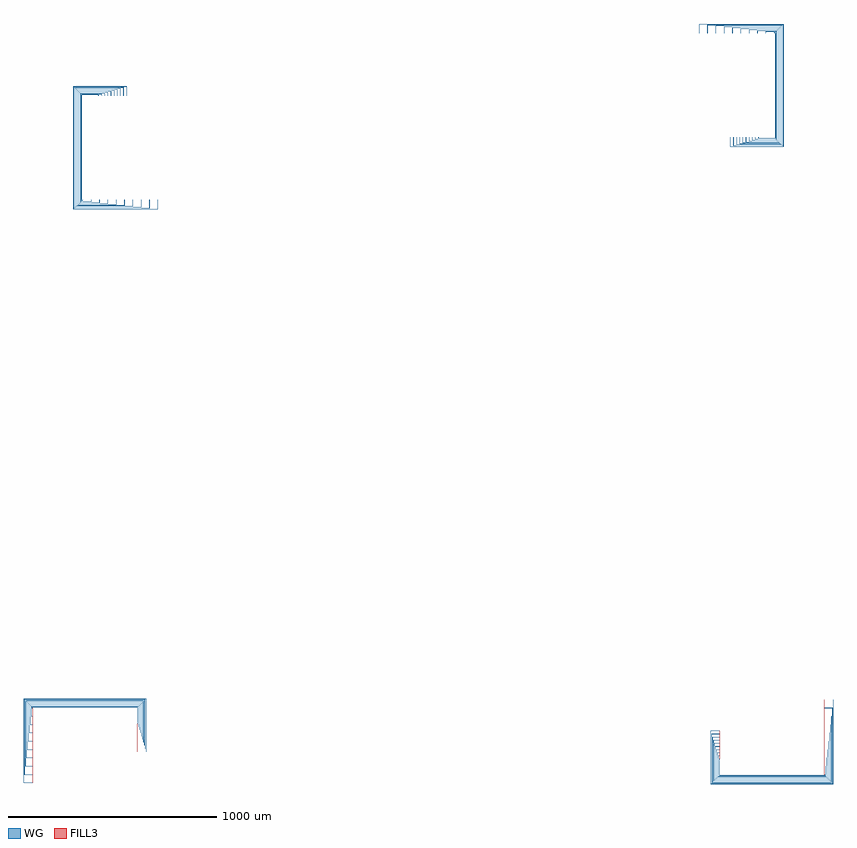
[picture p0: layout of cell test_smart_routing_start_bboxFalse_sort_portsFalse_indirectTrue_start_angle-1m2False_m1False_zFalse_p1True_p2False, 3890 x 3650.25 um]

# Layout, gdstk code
import gdstk
lib = gdstk.Library(unit=1e-6, precision=1e-09)
def P(c, l, *ps):  # polygons
    for p in ps: c.add(gdstk.Polygon(p, *l))
WG = (1, 0)
FILL3 = (10, 0)

test_smart_routing_start = lib.new_cell('test_smart_routing_start_bboxFalse_sort_portsFalse_indirectTrue_start_angle-1m2False_m1False_zFalse_p1True_p2False')
P(test_smart_routing_start, WG, [(3084.75,2895.5),(3084.75,2900),(3084.95,2900),(3084.95,2895.7),(3164.55,2895.7),(3164.55,3404.3),(3159.95,3404.3),(3159.95,3400),(3159.75,3400),(3159.75,3404.5),(3164.75,3404.5),(3164.75,2895.5)],
  [(3085.05,2895.8),(3085.05,2900),(3085.25,2900),(3085.25,2896),(3164.25,2896),(3164.25,3404),(3160.25,3404),(3160.25,3400),(3160.05,3400),(3160.05,3404.2),(3164.45,3404.2),(3164.45,2895.8)],
  [(3069.75,2891),(3069.75,2900),(3069.95,2900),(3069.95,2891.2),(3169.05,2891.2),(3169.05,3408.8),(3119.95,3408.8),(3119.95,3400),(3119.75,3400),(3119.75,3409),(3169.25,3409),(3169.25,2891)],
  [(3070.05,2891.3),(3070.05,2900),(3070.25,2900),(3070.25,2891.5),(3168.75,2891.5),(3168.75,3408.5),(3120.25,3408.5),(3120.25,3400),(3120.05,3400),(3120.05,3408.7),(3168.95,3408.7),(3168.95,2891.3)],
  [(3054.75,2886.5),(3054.75,2900),(3054.95,2900),(3054.95,2886.7),(3173.55,2886.7),(3173.55,3413.3),(3079.95,3413.3),(3079.95,3400),(3079.75,3400),(3079.75,3413.5),(3173.75,3413.5),(3173.75,2886.5)],
  [(3055.05,2886.8),(3055.05,2900),(3055.25,2900),(3055.25,2887),(3173.25,2887),(3173.25,3413),(3080.25,3413),(3080.25,3400),(3080.05,3400),(3080.05,3413.2),(3173.45,3413.2),(3173.45,2886.8)],
  [(3025.05,2877.8),(3025.05,2900),(3025.25,2900),(3025.25,2878),(3182.25,2878),(3182.25,3422),(3000.25,3422),(3000.25,3400),(3000.05,3400),(3000.05,3422.2),(3182.45,3422.2),(3182.45,2877.8)],
  [(3010.05,2873.3),(3010.05,2900),(3010.25,2900),(3010.25,2873.5),(3186.75,2873.5),(3186.75,3426.5),(2960.25,3426.5),(2960.25,3400),(2960.05,3400),(2960.05,3426.7),(3186.95,3426.7),(3186.95,2873.3)],
  [(2994.75,2868.5),(2994.75,2900),(2994.95,2900),(2994.95,2868.7),(3191.55,2868.7),(3191.55,3431.3),(2919.95,3431.3),(2919.95,3400),(2919.75,3400),(2919.75,3431.5),(3191.75,3431.5),(3191.75,2868.5)],
  [(2995.05,2868.8),(2995.05,2900),(2995.25,2900),(2995.25,2869),(3191.25,2869),(3191.25,3431),(2920.25,3431),(2920.25,3400),(2920.05,3400),(2920.05,3431.2),(3191.45,3431.2),(3191.45,2868.8)],
  [(2965.05,2859.8),(2965.05,2900),(2965.25,2900),(2965.25,2860),(3200.25,2860),(3200.25,3440),(2840.25,3440),(2840.25,3400),(2840.05,3400),(2840.05,3440.2),(3200.45,3440.2),(3200.45,2859.8)],
  [(2949.75,2855),(2949.75,2900),(2949.95,2900),(2949.95,2855.2),(3205.05,2855.2),(3205.05,3444.8),(2799.95,3444.8),(2799.95,3400),(2799.75,3400),(2799.75,3445),(3205.25,3445),(3205.25,2855)],
  [(2950.05,2855.3),(2950.05,2900),(2950.25,2900),(2950.25,2855.5),(3204.75,2855.5),(3204.75,3444.5),(2800.25,3444.5),(2800.25,3400),(2800.05,3400),(2800.05,3444.7),(3204.95,3444.7),(3204.95,2855.3)],
  [(-186.95,2573.3),(-186.95,3126.7),(-10.05,3126.7),(-10.05,3100),(-10.25,3100),(-10.25,3126.5),(-186.75,3126.5),(-186.75,2573.5),(39.75,2573.5),(39.75,2600),(39.95,2600),(39.95,2573.3)],
  [(-164.75,2595.5),(-164.75,3104.5),(-84.75,3104.5),(-84.75,3100),(-84.95,3100),(-84.95,3104.3),(-164.55,3104.3),(-164.55,2595.7),(-159.95,2595.7),(-159.95,2600),(-159.75,2600),(-159.75,2595.5)],
  [(2873.3,-186.95),(2873.3,-10.05),(2900,-10.05),(2900,-10.25),(2873.5,-10.25),(2873.5,-186.75),(3426.5,-186.75),(3426.5,39.75),(3400,39.75),(3400,39.95),(3426.7,39.95),(3426.7,-186.95)],
  [(2964.75,2859.5),(2964.75,2900),(2964.95,2900),(2964.95,2859.7),(3200.55,2859.7),(3200.55,3440.3),(2839.95,3440.3),(2839.95,3400),(2839.75,3400),(2839.75,3440.5),(3200.75,3440.5),(3200.75,2859.5)],
  [(-191.45,2568.8),(-191.45,3131.2),(4.95,3131.2),(4.95,3100),(4.75,3100),(4.75,3131),(-191.25,3131),(-191.25,2569),(79.75,2569),(79.75,2600),(79.95,2600),(79.95,2568.8)],
  [(-200.45,2559.8),(-200.45,3140.2),(34.95,3140.2),(34.95,3100),(34.75,3100),(34.75,3140),(-200.25,3140),(-200.25,2560),(159.75,2560),(159.75,2600),(159.95,2600),(159.95,2559.8)],
  [(-204.95,2555.3),(-204.95,3144.7),(49.95,3144.7),(49.95,3100),(49.75,3100),(49.75,3144.5),(-204.75,3144.5),(-204.75,2555.5),(199.75,2555.5),(199.75,2600),(199.95,2600),(199.95,2555.3)],
  [(2979.75,2864),(2979.75,2900),(2979.95,2900),(2979.95,2864.2),(3196.05,2864.2),(3196.05,3435.8),(2879.95,3435.8),(2879.95,3400),(2879.75,3400),(2879.75,3436),(3196.25,3436),(3196.25,2864)],
  [(100,84.75),(100,84.95),(104.3,84.95),(104.3,164.55),(-404.3,164.55),(-404.3,159.95),(-400,159.95),(-400,159.75),(-404.5,159.75),(-404.5,164.75),(104.5,164.75),(104.5,84.75)],
  [(-422.2,0.05),(-422.2,182.45),(122.2,182.45),(122.2,25.05),(100,25.05),(100,25.25),(122,25.25),(122,182.25),(-422,182.25),(-422,0.25),(-400,0.25),(-400,0.05)],
  [(-205.25,2555),(-205.25,3145),(50.25,3145),(50.25,3100),(50.05,3100),(50.05,3144.8),(-205.05,3144.8),(-205.05,2555.2),(200.05,2555.2),(200.05,2600),(200.25,2600),(200.25,2555)],
  [(100,54.75),(100,54.95),(113.3,54.95),(113.3,173.55),(-413.3,173.55),(-413.3,79.95),(-400,79.95),(-400,79.75),(-413.5,79.75),(-413.5,173.75),(113.5,173.75),(113.5,54.75)],
  [(2980.05,2864.3),(2980.05,2900),(2980.25,2900),(2980.25,2864.5),(3195.75,2864.5),(3195.75,3435.5),(2880.25,3435.5),(2880.25,3400),(2880.05,3400),(2880.05,3435.7),(3195.95,3435.7),(3195.95,2864.3)],
  [(-427,-40.25),(-427,187.25),(127,187.25),(127,9.75),(100,9.75),(100,9.95),(126.8,9.95),(126.8,187.05),(-426.8,187.05),(-426.8,-40.05),(-400,-40.05),(-400,-40.25)],
  [(-196.25,2564),(-196.25,3136),(20.25,3136),(20.25,3100),(20.05,3100),(20.05,3135.8),(-196.05,3135.8),(-196.05,2564.2),(120.05,2564.2),(120.05,2600),(120.25,2600),(120.25,2564)],
  [(100,69.75),(100,69.95),(108.8,69.95),(108.8,169.05),(-408.8,169.05),(-408.8,119.95),(-400,119.95),(-400,119.75),(-409,119.75),(-409,169.25),(109,169.25),(109,69.75)],
  [(-440.2,-159.95),(-440.2,200.45),(140.2,200.45),(140.2,-34.95),(100,-34.95),(100,-34.75),(140,-34.75),(140,200.25),(-440,200.25),(-440,-159.75),(-400,-159.75),(-400,-159.95)],
  [(2891,-169.25),(2891,-69.75),(2900,-69.75),(2900,-69.95),(2891.2,-69.95),(2891.2,-169.05),(3408.8,-169.05),(3408.8,-119.95),(3400,-119.95),(3400,-119.75),(3409,-119.75),(3409,-169.25)],
  [(-440.5,-160.25),(-440.5,200.75),(140.5,200.75),(140.5,-35.25),(100,-35.25),(100,-35.05),(140.3,-35.05),(140.3,200.55),(-440.3,200.55),(-440.3,-160.05),(-400,-160.05),(-400,-160.25)],
  [(-436,-120.25),(-436,196.25),(136,196.25),(136,-20.25),(100,-20.25),(100,-20.05),(135.8,-20.05),(135.8,196.05),(-435.8,196.05),(-435.8,-120.05),(-400,-120.05),(-400,-120.25)],
  [(-422.5,-0.25),(-422.5,182.75),(122.5,182.75),(122.5,24.75),(100,24.75),(100,24.95),(122.3,24.95),(122.3,182.55),(-422.3,182.55),(-422.3,-0.05),(-400,-0.05),(-400,-0.25)],
  [(2882,-178.25),(2882,-39.75),(2900,-39.75),(2900,-39.95),(2882.2,-39.95),(2882.2,-178.05),(3417.8,-178.05),(3417.8,-39.95),(3400,-39.95),(3400,-39.75),(3418,-39.75),(3418,-178.25)],
  [(2868.5,-191.75),(2868.5,5.25),(2900,5.25),(2900,5.05),(2868.7,5.05),(2868.7,-191.55),(3431.3,-191.55),(3431.3,80.05),(3400,80.05),(3400,80.25),(3431.5,80.25),(3431.5,-191.75)],
  [(-431.2,-79.95),(-431.2,191.45),(131.2,191.45),(131.2,-4.95),(100,-4.95),(100,-4.75),(131,-4.75),(131,191.25),(-431,191.25),(-431,-79.75),(-400,-79.75),(-400,-79.95)],
  [(100,55.05),(100,55.25),(113,55.25),(113,173.25),(-413,173.25),(-413,80.25),(-400,80.25),(-400,80.05),(-413.2,80.05),(-413.2,173.45),(113.2,173.45),(113.2,55.05)],
  [(-164.45,2595.8),(-164.45,3104.2),(-85.05,3104.2),(-85.05,3100),(-85.25,3100),(-85.25,3104),(-164.25,3104),(-164.25,2596),(-160.25,2596),(-160.25,2600),(-160.05,2600),(-160.05,2595.8)],
  [(-445,-200.25),(-445,205.25),(145,205.25),(145,-50.25),(100,-50.25),(100,-50.05),(144.8,-50.05),(144.8,205.05),(-444.8,205.05),(-444.8,-200.05),(-400,-200.05),(-400,-200.25)],
  [(2855,-205.25),(2855,50.25),(2900,50.25),(2900,50.05),(2855.2,50.05),(2855.2,-205.05),(3444.8,-205.05),(3444.8,200.05),(3400,200.05),(3400,200.25),(3445,200.25),(3445,-205.25)],
  [(3024.75,2877.5),(3024.75,2900),(3024.95,2900),(3024.95,2877.7),(3182.55,2877.7),(3182.55,3422.3),(2999.95,3422.3),(2999.95,3400),(2999.75,3400),(2999.75,3422.5),(3182.75,3422.5),(3182.75,2877.5)],
  [(2886.5,-173.75),(2886.5,-54.75),(2900,-54.75),(2900,-54.95),(2886.7,-54.95),(2886.7,-173.55),(3413.3,-173.55),(3413.3,-79.95),(3400,-79.95),(3400,-79.75),(3413.5,-79.75),(3413.5,-173.75)],
  [(2895.5,-164.75),(2895.5,-84.75),(2900,-84.75),(2900,-84.95),(2895.7,-84.95),(2895.7,-164.55),(3404.3,-164.55),(3404.3,-159.95),(3400,-159.95),(3400,-159.75),(3404.5,-159.75),(3404.5,-164.75)],
  [(-431.5,-80.25),(-431.5,191.75),(131.5,191.75),(131.5,-5.25),(100,-5.25),(100,-5.05),(131.3,-5.05),(131.3,191.55),(-431.3,191.55),(-431.3,-80.05),(-400,-80.05),(-400,-80.25)],
  [(-168.95,2591.3),(-168.95,3108.7),(-70.05,3108.7),(-70.05,3100),(-70.25,3100),(-70.25,3108.5),(-168.75,3108.5),(-168.75,2591.5),(-120.25,2591.5),(-120.25,2600),(-120.05,2600),(-120.05,2591.3)],
  [(3009.75,2873),(3009.75,2900),(3009.95,2900),(3009.95,2873.2),(3187.05,2873.2),(3187.05,3426.8),(2959.95,3426.8),(2959.95,3400),(2959.75,3400),(2959.75,3427),(3187.25,3427),(3187.25,2873)],
  [(-418,39.75),(-418,178.25),(118,178.25),(118,39.75),(100,39.75),(100,39.95),(117.8,39.95),(117.8,178.05),(-417.8,178.05),(-417.8,39.95),(-400,39.95),(-400,39.75)],
  [(-195.95,2564.3),(-195.95,3135.7),(19.95,3135.7),(19.95,3100),(19.75,3100),(19.75,3135.5),(-195.75,3135.5),(-195.75,2564.5),(119.75,2564.5),(119.75,2600),(119.95,2600),(119.95,2564.3)],
  [(-169.25,2591),(-169.25,3109),(-69.75,3109),(-69.75,3100),(-69.95,3100),(-69.95,3108.8),(-169.05,3108.8),(-169.05,2591.2),(-119.95,2591.2),(-119.95,2600),(-119.75,2600),(-119.75,2591)],
  [(100,70.05),(100,70.25),(108.5,70.25),(108.5,168.75),(-408.5,168.75),(-408.5,120.25),(-400,120.25),(-400,120.05),(-408.7,120.05),(-408.7,168.95),(108.7,168.95),(108.7,70.05)],
  [(-187.25,2573),(-187.25,3127),(-9.75,3127),(-9.75,3100),(-9.95,3100),(-9.95,3126.8),(-187.05,3126.8),(-187.05,2573.2),(40.05,2573.2),(40.05,2600),(40.25,2600),(40.25,2573)],
  [(-426.7,-39.95),(-426.7,186.95),(126.7,186.95),(126.7,10.05),(100,10.05),(100,10.25),(126.5,10.25),(126.5,186.75),(-426.5,186.75),(-426.5,-39.75),(-400,-39.75),(-400,-39.95)],
  [(-435.7,-119.95),(-435.7,195.95),(135.7,195.95),(135.7,-19.95),(100,-19.95),(100,-19.75),(135.5,-19.75),(135.5,195.75),(-435.5,195.75),(-435.5,-119.75),(-400,-119.75),(-400,-119.95)],
  [(-200.75,2559.5),(-200.75,3140.5),(35.25,3140.5),(35.25,3100),(35.05,3100),(35.05,3140.3),(-200.55,3140.3),(-200.55,2559.7),(160.05,2559.7),(160.05,2600),(160.25,2600),(160.25,2559.5)],
  [(-417.7,40.05),(-417.7,177.95),(117.7,177.95),(117.7,40.05),(100,40.05),(100,40.25),(117.5,40.25),(117.5,177.75),(-417.5,177.75),(-417.5,40.25),(-400,40.25),(-400,40.05)],
  [(-182.45,2577.8),(-182.45,3122.2),(-25.05,3122.2),(-25.05,3100),(-25.25,3100),(-25.25,3122),(-182.25,3122),(-182.25,2578),(-0.25,2578),(-0.25,2600),(-0.05,2600),(-0.05,2577.8)],
  [(3039.75,2882),(3039.75,2900),(3039.95,2900),(3039.95,2882.2),(3178.05,2882.2),(3178.05,3417.8),(3039.95,3417.8),(3039.95,3400),(3039.75,3400),(3039.75,3418),(3178.25,3418),(3178.25,2882)],
  [(2864,-196.25),(2864,20.25),(2900,20.25),(2900,20.05),(2864.2,20.05),(2864.2,-196.05),(3435.8,-196.05),(3435.8,120.05),(3400,120.05),(3400,120.25),(3436,120.25),(3436,-196.25)],
  [(-182.75,2577.5),(-182.75,3122.5),(-24.75,3122.5),(-24.75,3100),(-24.95,3100),(-24.95,3122.3),(-182.55,3122.3),(-182.55,2577.7),(0.05,2577.7),(0.05,2600),(0.25,2600),(0.25,2577.5)],
  [(-191.75,2568.5),(-191.75,3131.5),(5.25,3131.5),(5.25,3100),(5.05,3100),(5.05,3131.3),(-191.55,3131.3),(-191.55,2568.7),(80.05,2568.7),(80.05,2600),(80.25,2600),(80.25,2568.5)],
  [(-173.75,2586.5),(-173.75,3113.5),(-54.75,3113.5),(-54.75,3100),(-54.95,3100),(-54.95,3113.3),(-173.55,3113.3),(-173.55,2586.7),(-79.95,2586.7),(-79.95,2600),(-79.75,2600),(-79.75,2586.5)],
  [(-178.25,2582),(-178.25,3118),(-39.75,3118),(-39.75,3100),(-39.95,3100),(-39.95,3117.8),(-178.05,3117.8),(-178.05,2582.2),(-39.95,2582.2),(-39.95,2600),(-39.75,2600),(-39.75,2582)],
  [(100,85.05),(100,85.25),(104,85.25),(104,164.25),(-404,164.25),(-404,160.25),(-400,160.25),(-400,160.05),(-404.2,160.05),(-404.2,164.45),(104.2,164.45),(104.2,85.05)],
  [(2855.3,-204.95),(2855.3,49.95),(2900,49.95),(2900,49.75),(2855.5,49.75),(2855.5,-204.75),(3444.5,-204.75),(3444.5,199.75),(3400,199.75),(3400,199.95),(3444.7,199.95),(3444.7,-204.95)],
  [(2859.8,-200.45),(2859.8,34.95),(2900,34.95),(2900,34.75),(2860,34.75),(2860,-200.25),(3440,-200.25),(3440,159.75),(3400,159.75),(3400,159.95),(3440.2,159.95),(3440.2,-200.45)],
  [(2877.8,-182.45),(2877.8,-25.05),(2900,-25.05),(2900,-25.25),(2878,-25.25),(2878,-182.25),(3422,-182.25),(3422,-0.25),(3400,-0.25),(3400,-0.05),(3422.2,-0.05),(3422.2,-182.45)],
  [(2891.3,-168.95),(2891.3,-70.05),(2900,-70.05),(2900,-70.25),(2891.5,-70.25),(2891.5,-168.75),(3408.5,-168.75),(3408.5,-120.25),(3400,-120.25),(3400,-120.05),(3408.7,-120.05),(3408.7,-168.95)],
  [(2859.5,-200.75),(2859.5,35.25),(2900,35.25),(2900,35.05),(2859.7,35.05),(2859.7,-200.55),(3440.3,-200.55),(3440.3,160.05),(3400,160.05),(3400,160.25),(3440.5,160.25),(3440.5,-200.75)],
  [(-444.7,-199.95),(-444.7,204.95),(144.7,204.95),(144.7,-49.95),(100,-49.95),(100,-49.75),(144.5,-49.75),(144.5,204.75),(-444.5,204.75),(-444.5,-199.75),(-400,-199.75),(-400,-199.95)],
  [(2864.3,-195.95),(2864.3,19.95),(2900,19.95),(2900,19.75),(2864.5,19.75),(2864.5,-195.75),(3435.5,-195.75),(3435.5,119.75),(3400,119.75),(3400,119.95),(3435.7,119.95),(3435.7,-195.95)],
  [(3040.05,2882.3),(3040.05,2900),(3040.25,2900),(3040.25,2882.5),(3177.75,2882.5),(3177.75,3417.5),(3040.25,3417.5),(3040.25,3400),(3040.05,3400),(3040.05,3417.7),(3177.95,3417.7),(3177.95,2882.3)],
  [(2882.3,-177.95),(2882.3,-40.05),(2900,-40.05),(2900,-40.25),(2882.5,-40.25),(2882.5,-177.75),(3417.5,-177.75),(3417.5,-40.25),(3400,-40.25),(3400,-40.05),(3417.7,-40.05),(3417.7,-177.95)],
  [(2868.8,-191.45),(2868.8,4.95),(2900,4.95),(2900,4.75),(2869,4.75),(2869,-191.25),(3431,-191.25),(3431,79.75),(3400,79.75),(3400,79.95),(3431.2,79.95),(3431.2,-191.45)],
  [(-177.95,2582.3),(-177.95,3117.7),(-40.05,3117.7),(-40.05,3100),(-40.25,3100),(-40.25,3117.5),(-177.75,3117.5),(-177.75,2582.5),(-40.25,2582.5),(-40.25,2600),(-40.05,2600),(-40.05,2582.3)],
  [(2873,-187.25),(2873,-9.75),(2900,-9.75),(2900,-9.95),(2873.2,-9.95),(2873.2,-187.05),(3426.8,-187.05),(3426.8,40.05),(3400,40.05),(3400,40.25),(3427,40.25),(3427,-187.25)],
  [(2895.8,-164.45),(2895.8,-85.05),(2900,-85.05),(2900,-85.25),(2896,-85.25),(2896,-164.25),(3404,-164.25),(3404,-160.25),(3400,-160.25),(3400,-160.05),(3404.2,-160.05),(3404.2,-164.45)],
  [(2877.5,-182.75),(2877.5,-24.75),(2900,-24.75),(2900,-24.95),(2877.7,-24.95),(2877.7,-182.55),(3422.3,-182.55),(3422.3,0.05),(3400,0.05),(3400,0.25),(3422.5,0.25),(3422.5,-182.75)],
  [(-173.45,2586.8),(-173.45,3113.2),(-55.05,3113.2),(-55.05,3100),(-55.25,3100),(-55.25,3113),(-173.25,3113),(-173.25,2587),(-80.25,2587),(-80.25,2600),(-80.05,2600),(-80.05,2586.8)],
  [(2886.8,-173.45),(2886.8,-55.05),(2900,-55.05),(2900,-55.25),(2887,-55.25),(2887,-173.25),(3413,-173.25),(3413,-80.25),(3400,-80.25),(3400,-80.05),(3413.2,-80.05),(3413.2,-173.45)])
P(test_smart_routing_start, FILL3, [(-160,2600),(200,2600),(200,2600),(-160,2600)],
  [(2800,3400),(3160,3400),(3160,3400),(2800,3400)],
  [(-400,-200),(-400,-200),(-400,160),(-400,160)],
  [(3400,-160),(3400,-160),(3400,200),(3400,200)],
  [(2950,2900),(3085,2900),(3085,2900),(2950,2900)],
  [(-85,3100),(50,3100),(50,3100),(-85,3100)],
  [(2900,-85),(2900,-85),(2900,50),(2900,50)],
  [(100,-50),(100,-50),(100,85),(100,85)])

lib.write_gds('test_smart_routing_start_bboxFalse_sort_portsFalse_indirectTrue_start_angle-1m2False_m1False_zFalse_p1True_p2False.gds')
